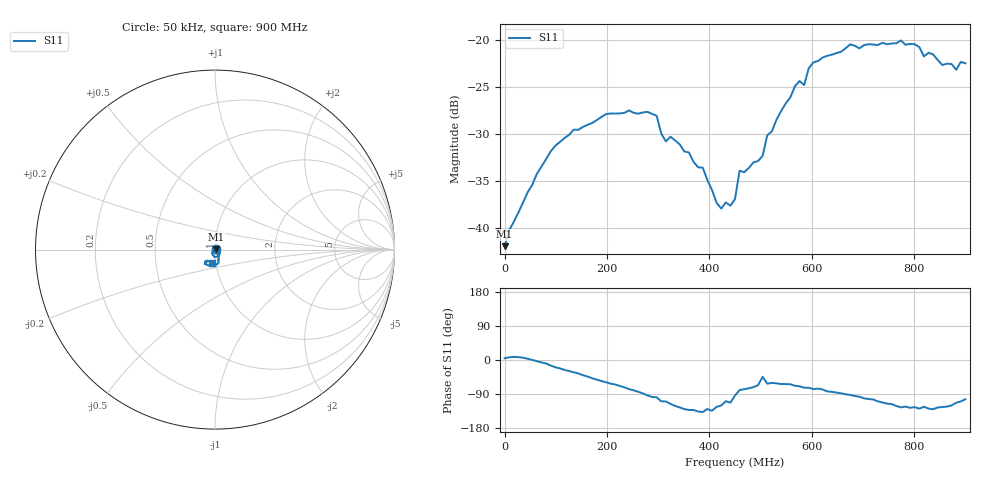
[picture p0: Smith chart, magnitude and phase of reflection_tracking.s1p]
! Created with skrf 1.8.0 (http://scikit-rf.org).
# Hz S RI R 50.0
!freq ReS11 ImS11
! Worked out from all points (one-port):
!   101 points, 50 kHz to 900 MHz, reference 50 ohm
!   lowest |S11| = -42.0 dB at 50 kHz (marker M1), VSWR 1.02, Z = 50.8 + j0.065 ohm
!   |S11| at or under -10 dB: start of sweep to end of sweep
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50000  0.00796 0.00064
9049500  0.00966 0.0012
6.30465e7  0.0193 -0.00107
1.170435e8  0.027 -0.0132
1.98039e8  0.021 -0.0343
2.250375e8  0.0149 -0.0378
2.970335e8  -0.00586 -0.039
3.06033e8  -0.0104 -0.0299
3.150325e8  -0.00957 -0.0272
3.24032e8  -0.0133 -0.0275
3.42031e8  -0.016 -0.0227
3.870285e8  -0.0153 -0.0142
4.230265e8  -0.00635 -0.0109
4.50025e8  -0.000941 -0.0142
4.590245e8  0.00374 -0.0198
5.04022e8  0.0173 -0.0169
5.130215e8  0.0143 -0.0275
5.670185e8  0.0213 -0.0524
5.76018e8  0.0213 -0.0565
5.850175e8  0.0167 -0.0549
5.94017e8  0.0204 -0.0674
6.030165e8  0.0175 -0.0737
6.750125e8  -0.00371 -0.0944
7.92006e8  -0.056 -0.0767
8.370035e8  -0.0536 -0.0641
8.550025e8  -0.0412 -0.0607
8.82001e8  -0.0268 -0.0638
9e8  -0.0177 -0.0728
